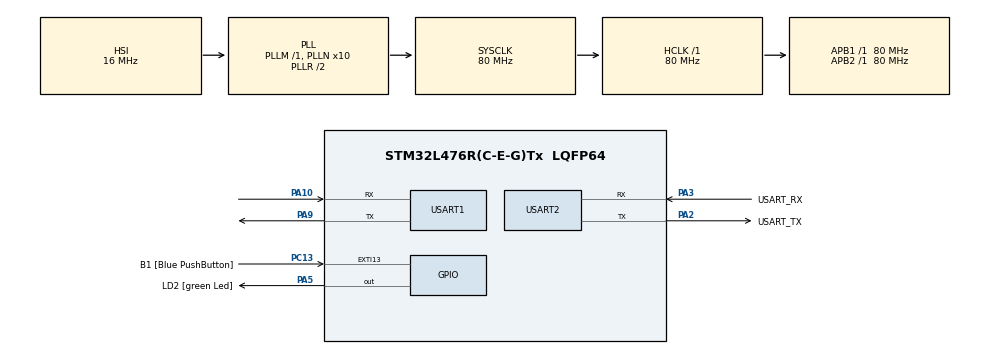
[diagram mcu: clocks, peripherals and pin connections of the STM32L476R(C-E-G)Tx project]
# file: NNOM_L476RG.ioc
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Mcu.Family=STM32L4
Mcu.Name=STM32L476R(C-E-G)Tx
Mcu.Package=LQFP64
NVIC.PriorityGroup=NVIC_PRIORITYGROUP_4
PA10.Mode=Asynchronous
PA10.Signal=USART1_RX
PA13\ (JTMS-SWDIO).GPIO_Label=TMS
PA13\ (JTMS-SWDIO).Mode=Serial_Wire
PA13\ (JTMS-SWDIO).Signal=SYS_JTMS-SWDIO
PA14\ (JTCK-SWCLK).GPIO_Label=TCK
PA14\ (JTCK-SWCLK).Mode=Serial_Wire
PA14\ (JTCK-SWCLK).Signal=SYS_JTCK-SWCLK
PA2.GPIO_Label=USART_TX
PA2.GPIO_Mode=GPIO_MODE_AF_PP
PA2.GPIO_PuPd=GPIO_NOPULL
PA2.GPIO_Speed=GPIO_SPEED_FREQ_VERY_HIGH
PA2.Mode=Asynchronous
PA2.Signal=USART2_TX
PA3.GPIO_Label=USART_RX
PA3.GPIO_Mode=GPIO_MODE_AF_PP
PA3.GPIO_PuPd=GPIO_NOPULL
PA3.GPIO_Speed=GPIO_SPEED_FREQ_VERY_HIGH
PA3.Mode=Asynchronous
PA3.Signal=USART2_RX
PA5.GPIO_Label=LD2 [green Led]
PA5.GPIO_ModeDefaultOutputPP=GPIO_MODE_OUTPUT_PP
PA5.GPIO_PuPd=GPIO_NOPULL
PA5.GPIO_Speed=GPIO_SPEED_FREQ_LOW
PA5.Signal=GPIO_Output
PA9.Mode=Asynchronous
PA9.Signal=USART1_TX
PB3\ (JTDO-TRACESWO).GPIO_Label=SWO
PB3\ (JTDO-TRACESWO).Signal=SYS_JTDO-SWO
PC13.GPIO_Label=B1 [Blue PushButton]
PC13.GPIO_ModeDefaultEXTI=GPIO_MODE_IT_FALLING
PC13.GPIO_PuPd=GPIO_NOPULL
PC13.Signal=GPXTI13
PC14-OSC32_IN\ (PC14).Mode=LSE-External-Oscillator
PC14-OSC32_IN\ (PC14).Signal=RCC_OSC32_IN
PC15-OSC32_OUT\ (PC15).Mode=LSE-External-Oscillator
PC15-OSC32_OUT\ (PC15).Signal=RCC_OSC32_OUT
PH0-OSC_IN\ (PH0).Signal=RCC_OSC_IN
PH1-OSC_OUT\ (PH1).Signal=RCC_OSC_OUT
ProjectManager.HeapSize=0x200
ProjectManager.StackSize=0x400
ProjectManager.TargetToolchain=STM32CubeIDE
RCC.ADCFreq_Value=64000000
RCC.AHBFreq_Value=80000000
RCC.APB1Freq_Value=80000000
RCC.APB1TimFreq_Value=80000000
RCC.APB2Freq_Value=80000000
RCC.APB2TimFreq_Value=80000000
RCC.CortexFreq_Value=80000000
RCC.HCLKFreq_Value=80000000
RCC.HSE_VALUE=8000000
RCC.HSI_VALUE=16000000
RCC.MSI_VALUE=4000000
RCC.PLLN=10
RCC.PLLSourceVirtual=RCC_PLLSOURCE_HSI
RCC.PREFETCH_ENABLE=1
RCC.SYSCLKFreq_VALUE=80000000
RCC.SYSCLKSource=RCC_SYSCLKSOURCE_PLLCLK
RCC.USBFreq_Value=64000000
RCC.VCOOutputFreq_Value=160000000
TIM16.Period=65536-1
TIM16.Prescaler=80-1
USART1.VirtualMode-Asynchronous=VM_ASYNC
USART2.VirtualMode-Asynchronous=VM_ASYNC
VP_TIM16_VS_ClockSourceINT.Mode=Enable_Timer
board=NUCLEO-L476RG

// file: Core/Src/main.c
/* USER CODE BEGIN Header */
/**
  ******************************************************************************
  * @file           : main.c
  * @brief          : Main program body
  ******************************************************************************
  * @attention
  *
  * Copyright (c) 2023 STMicroelectronics.
  * All rights reserved.
  *
  * This software is licensed under terms that can be found in the LICENSE file
  * in the root directory of this software component.
  * If no LICENSE file comes with this software, it is provided AS-IS.
  *
  ******************************************************************************
  */
/* USER CODE END Header */
#include "main.h"

/* USER CODE BEGIN Includes */
#include <stdint.h>
#include <stdlib.h>
#include <stdio.h>
#include <assert.h>

#include <nnom.h>
#include "DenseNet_v2.h"
/* USER CODE END Includes */

TIM_HandleTypeDef htim16;

UART_HandleTypeDef huart1;
UART_HandleTypeDef huart2;

void SystemClock_Config(void);
static void MX_GPIO_Init(void);
static void MX_USART2_UART_Init(void);
static void MX_TIM16_Init(void);
static void MX_USART1_UART_Init(void);

/* USER CODE BEGIN 0 */
int8_t* load(const char* file, size_t * size)
{
	size_t sz;
	FILE* fp = fopen(file,"rb");
	int8_t* input;
	assert(fp);
	fseek(fp, 0, SEEK_END);
	sz = ftell(fp);
	fseek(fp, 0, SEEK_SET);
	input = malloc(sz);
	fread(input, 1, sz, fp);
	fclose(fp);
	*size = sz;
	return input;
}

nnom_status_t callback(nnom_model_t* m, nnom_layer_t* layer)
{
	float scale = 1 << (layer->out->tensor->q_dec[0]);
	printf("\nOutput of Layer %s", default_layer_names[layer->type]);
	for (int i = 0; i < tensor_size(layer->out->tensor); i++)
	{
		if (i % 16 == 0)
			printf("\n");
		//printf("%f ", (float)((int8_t*)layer->out->tensor->p_data)[i] / scale);
	}
	printf("\n");
	return NN_SUCCESS;
}
/* USER CODE END 0 */

int main(void)
{
  /* USER CODE BEGIN 1 */
	char uart_buf[50];
	int uart_buf_len=0;
	uint16_t timer_val,timer_val1=0;

	unsigned char input_data_third[7968] =
			{
					7,	2,	1,	0,	4,	1,	4,	9,	5,	9,	0,	6,	9,	0,	1,	5,	0,	0,	0,	0,	0,	0,	0,	0,	0,	0,	0,	0,
					0,	0,	0,	0,	0,	0,	0,	0,	0,	0,	0,	0,	0,	0,	0,	0,	0,	0,	0,	0,	0,	0,	0,	0,	0,	0,	0,	0,
					0,	0,	0,	0,	0,	0,	0,	0,	0,	0,	0,	0,	0,	0,	0,	0,	0,	0,	0,	0,	0,	0,	0,	0,	0,	0,	0,	0,
					0,	0,	0,	0,	0,	0,	0,	0,	0,	0,	0,	0,	0,	0,	0,	0,	0,	0,	0,	0,	0,	0,	0,	0,	0,	0,	0,	0,
					0,	0,	0,	0,	0,	0,	0,	0,	0,	0,	0,	0,	0,	0,	0,	0,

					0,	0,	0,	0,	0,	0,	0,	0,	0,	0,	0,	0,	0,	0,	0,	0,	0,	0,	0,	0,	0,	0,	0,	0,	0,	0,	0,	0,
					0,	0,	0,	0,	0,	0,	0,	0,	0,	0,	0,	0,	0,	0,	0,	0,	0,	0,	0,	0,	0,	0,	0,	0,	0,	0,	0,	0,
					0,	0,	0,	0,	0,	0,	0,	0,	0,	0,	0,	0,	0,	0,	0,	0,	0,	0,	0,	0,	0,	0,	0,	0,	0,	0,	0,	0,
					0,	0,	0,	0,	0,	0,	0,	0,	0,	0,	0,	0,	0,	0,	0,	0,	0,	0,	0,	0,	0,	0,	0,	0,	0,	0,	0,	0,
					0,	0,	0,	0,	0,	0,	0,	0,	0,	0,	0,	0,	0,	0,	0,	0,	0,	0,	0,	0,	0,	0,	0,	0,	0,	0,	0,	0,
					0,	0,	0,	0,	0,	0,	0,	0,	0,	0,	0,	0,	0,	0,	0,	0,	0,	0,	0,	0,	0,	0,	0,	0,	0,	0,	0,	0,
					0,	0,	0,	0,	0,	0,	0,	0,	0,	0,	0,	0,	0,	0,	0,	0,	0,	0,	0,	0,	0,	0,	0,	0,	0,	0,	0,	0,
					0,	0,	0,	0,	0,	0,	42,	92,	79,	75,	30,	18,	0,	0,	0,	0,	0,	0,	0,	0,	0,	0,	0,	0,	0,	0,	0,	0,
					0,	0,	0,	0,	0,	0,	111,	127,	127,	127,	127,	120,	99,	99,	99,	99,	99,	99,	99,	99,	85,	26,	0,	0,	0,	0,	0,	0,
					0,	0,	0,	0,	0,	0,	33,	57,	36,	57,	81,	113,	127,	112,	127,	127,	127,	125,	114,	127,	127,	70,	0,	0,	0,	0,	0,	0,
					0,	0,	0,	0,	0,	0,	0,	0,	0,	0,	0,	8,	33,	7,	33,	33,	33,	29,	10,	118,	127,	53,	0,	0,	0,	0,	0,	0,
					0,	0,	0,	0,	0,	0,	0,	0,	0,	0,	0,	0,	0,	0,	0,	0,	0,	0,	41,	126,	104,	9,	0,	0,	0,	0,	0,	0,
					0,	0,	0,	0,	0,	0,	0,	0,	0,	0,	0,	0,	0,	0,	0,	0,	0,	11,	116,	127,	41,	0,	0,	0,	0,	0,	0,	0,
					0,	0,	0,	0,	0,	0,	0,	0,	0,	0,	0,	0,	0,	0,	0,	0,	0,	64,	127,	119,	22,	0,	0,	0,	0,	0,	0,	0,
					0,	0,	0,	0,	0,	0,	0,	0,	0,	0,	0,	0,	0,	0,	0,	0,	29,	124,	127,	31,	0,	0,	0,	0,	0,	0,	0,	0,
					0,	0,	0,	0,	0,	0,	0,	0,	0,	0,	0,	0,	0,	0,	0,	0,	66,	127,	93,	2,	0,	0,	0,	0,	0,	0,	0,	0,
					0,	0,	0,	0,	0,	0,	0,	0,	0,	0,	0,	0,	0,	0,	0,	4,	102,	124,	29,	0,	0,	0,	0,	0,	0,	0,	0,	0,
					0,	0,	0,	0,	0,	0,	0,	0,	0,	0,	0,	0,	0,	0,	0,	63,	127,	91,	0,	0,	0,	0,	0,	0,	0,	0,	0,	0,
					0,	0,	0,	0,	0,	0,	0,	0,	0,	0,	0,	0,	0,	0,	37,	125,	120,	28,	0,	0,	0,	0,	0,	0,	0,	0,	0,	0,
					0,	0,	0,	0,	0,	0,	0,	0,	0,	0,	0,	0,	0,	9,	110,	127,	83,	0,	0,	0,	0,	0,	0,	0,	0,	0,	0,	0,
					0,	0,	0,	0,	0,	0,	0,	0,	0,	0,	0,	0,	1,	101,	127,	109,	17,	0,	0,	0,	0,	0,	0,	0,	0,	0,	0,	0,
					0,	0,	0,	0,	0,	0,	0,	0,	0,	0,	0,	0,	19,	127,	127,	38,	0,	0,	0,	0,	0,	0,	0,	0,	0,	0,	0,	0,
					0,	0,	0,	0,	0,	0,	0,	0,	0,	0,	0,	15,	112,	127,	57,	0,	0,	0,	0,	0,	0,	0,	0,	0,	0,	0,	0,	0,
					0,	0,	0,	0,	0,	0,	0,	0,	0,	0,	0,	66,	127,	127,	26,	0,	0,	0,	0,	0,	0,	0,	0,	0,	0,	0,	0,	0,
					0,	0,	0,	0,	0,	0,	0,	0,	0,	0,	30,	121,	127,	127,	26,	0,	0,	0,	0,	0,	0,	0,	0,	0,	0,	0,	0,	0,
					0,	0,	0,	0,	0,	0,	0,	0,	0,	0,	60,	127,	127,	109,	20,	0,	0,	0,	0,	0,	0,	0,	0,	0,	0,	0,	0,	0,
					0,	0,	0,	0,	0,	0,	0,	0,	0,	0,	60,	127,	103,	9,	0,	0,	0,	0,	0,	0,	0,	0,	0,	0,	0,	0,	0,	0,
					0,	0,	0,	0,	0,	0,	0,	0,	0,	0,	0,	0,	0,	0,	0,	0,	0,	0,	0,	0,	0,	0,	0,	0,	0,	0,	0,	0,

					0,	0,	0,	0,	0,	0,	0,	0,	0,	0,	0,	0,	0,	0,	0,	0,	0,	0,	0,	0,	0,	0,	0,	0,	0,	0,	0,	0,
					0,	0,	0,	0,	0,	0,	0,	0,	0,	0,	0,	0,	0,	0,	0,	0,	0,	0,	0,	0,	0,	0,	0,	0,	0,	0,	0,	0,
					0,	0,	0,	0,	0,	0,	0,	0,	0,	0,	0,	0,	0,	0,	0,	0,	0,	0,	0,	0,	0,	0,	0,	0,	0,	0,	0,	0,
					0,	0,	0,	0,	0,	0,	0,	0,	0,	0,	58,	62,	85,	127,	127,	75,	46,	0,	0,	0,	0,	0,	0,	0,	0,	0,	0,	0,
					0,	0,	0,	0,	0,	0,	0,	0,	0,	84,	126,	126,	126,	126,	126,	126,	109,	15,	0,	0,	0,	0,	0,	0,	0,	0,	0,	0,
					0,	0,	0,	0,	0,	0,	0,	0,	84,	126,	126,	126,	106,	71,	88,	126,	126,	61,	0,	0,	0,	0,	0,	0,	0,	0,	0,	0,
					0,	0,	0,	0,	0,	0,	0,	26,	125,	126,	105,	16,	6,	0,	3,	103,	126,	70,	0,	0,	0,	0,	0,	0,	0,	0,	0,	0,
					0,	0,	0,	0,	0,	0,	0,	38,	125,	105,	12,	0,	0,	0,	61,	124,	126,	32,	0,	0,	0,	0,	0,	0,	0,	0,	0,	0,
					0,	0,	0,	0,	0,	0,	0,	0,	15,	9,	0,	0,	0,	0,	104,	126,	126,	32,	0,	0,	0,	0,	0,	0,	0,	0,	0,	0,
					0,	0,	0,	0,	0,	0,	0,	0,	0,	0,	0,	0,	0,	58,	123,	126,	99,	5,	0,	0,	0,	0,	0,	0,	0,	0,	0,	0,
					0,	0,	0,	0,	0,	0,	0,	0,	0,	0,	0,	0,	38,	123,	126,	115,	31,	0,	0,	0,	0,	0,	0,	0,	0,	0,	0,	0,
					0,	0,	0,	0,	0,	0,	0,	0,	0,	0,	0,	0,	64,	126,	126,	72,	0,	0,	0,	0,	0,	0,	0,	0,	0,	0,	0,	0,
					0,	0,	0,	0,	0,	0,	0,	0,	0,	0,	0,	88,	123,	126,	79,	6,	0,	0,	0,	0,	0,	0,	0,	0,	0,	0,	0,	0,
					0,	0,	0,	0,	0,	0,	0,	0,	0,	0,	12,	117,	126,	116,	17,	0,	0,	0,	0,	0,	0,	0,	0,	0,	0,	0,	0,	0,
					0,	0,	0,	0,	0,	0,	0,	0,	0,	0,	99,	126,	126,	70,	0,	0,	0,	0,	0,	0,	0,	0,	0,	0,	0,	0,	0,	0,
					0,	0,	0,	0,	0,	0,	0,	0,	0,	39,	124,	126,	94,	6,	0,	0,	0,	0,	0,	0,	0,	0,	0,	0,	0,	0,	0,	0,
					0,	0,	0,	0,	0,	0,	0,	0,	9,	100,	126,	126,	70,	0,	0,	0,	0,	0,	0,	0,	0,	0,	0,	0,	0,	0,	0,	0,
					0,	0,	0,	0,	0,	0,	0,	0,	67,	126,	126,	86,	6,	0,	0,	0,	0,	0,	0,	0,	0,	0,	0,	0,	0,	0,	0,	0,
					0,	0,	0,	0,	0,	0,	0,	0,	124,	126,	126,	12,	0,	0,	0,	0,	0,	0,	0,	0,	0,	0,	0,	0,	0,	0,	0,	0,
					0,	0,	0,	0,	0,	0,	0,	0,	124,	126,	126,	21,	10,	10,	10,	10,	2,	0,	2,	10,	10,	18,	75,	75,	75,	73,	5,	0,
					0,	0,	0,	0,	0,	0,	0,	0,	124,	126,	126,	126,	126,	126,	126,	126,	84,	71,	83,	126,	126,	126,	126,	126,	126,	126,	61,	0,
					0,	0,	0,	0,	0,	0,	0,	0,	87,	126,	126,	126,	126,	126,	126,	126,	126,	126,	126,	126,	124,	123,	123,	84,	58,	58,	28,	0,
					0,	0,	0,	0,	0,	0,	0,	0,	0,	59,	61,	61,	61,	83,	126,	126,	126,	77,	61,	61,	20,	0,	0,	0,	0,	0,	0,	0,
					0,	0,	0,	0,	0,	0,	0,	0,	0,	0,	0,	0,	0,	0,	0,	0,	0,	0,	0,	0,	0,	0,	0,	0,	0,	0,	0,	0,
					0,	0,	0,	0,	0,	0,	0,	0,	0,	0,	0,	0,	0,	0,	0,	0,	0,	0,	0,	0,	0,	0,	0,	0,	0,	0,	0,	0,
					0,	0,	0,	0,	0,	0,	0,	0,	0,	0,	0,	0,	0,	0,	0,	0,	0,	0,	0,	0,	0,	0,	0,	0,	0,	0,	0,	0,
					0,	0,	0,	0,	0,	0,	0,	0,	0,	0,	0,	0,	0,	0,	0,	0,	0,	0,	0,	0,	0,	0,	0,	0,	0,	0,	0,	0,
					0,	0,	0,	0,	0,	0,	0,	0,	0,	0,	0,	0,	0,	0,	0,	0,	0,	0,	0,	0,	0,	0,	0,	0,	0,	0,	0,	0,

					0,	0,	0,	0,	0,	0,	0,	0,	0,	0,	0,	0,	0,	0,	0,	0,	0,	0,	0,	0,	0,	0,	0,	0,	0,	0,	0,	0,
					0,	0,	0,	0,	0,	0,	0,	0,	0,	0,	0,	0,	0,	0,	0,	0,	0,	0,	0,	0,	0,	0,	0,	0,	0,	0,	0,	0,
					0,	0,	0,	0,	0,	0,	0,	0,	0,	0,	0,	0,	0,	0,	0,	0,	0,	0,	0,	0,	0,	0,	0,	0,	0,	0,	0,	0,
					0,	0,	0,	0,	0,	0,	0,	0,	0,	0,	0,	0,	0,	0,	0,	0,	0,	0,	0,	0,	0,	0,	0,	0,	0,	0,	0,	0,
					0,	0,	0,	0,	0,	0,	0,	0,	0,	0,	0,	0,	0,	0,	0,	0,	19,	127,	54,	0,	0,	0,	0,	0,	0,	0,	0,	0,
					0,	0,	0,	0,	0,	0,	0,	0,	0,	0,	0,	0,	0,	0,	0,	0,	43,	126,	41,	0,	0,	0,	0,	0,	0,	0,	0,	0,
					0,	0,	0,	0,	0,	0,	0,	0,	0,	0,	0,	0,	0,	0,	0,	0,	67,	120,	0,	0,	0,	0,	0,	0,	0,	0,	0,	0,
					0,	0,	0,	0,	0,	0,	0,	0,	0,	0,	0,	0,	0,	0,	0,	22,	122,	75,	0,	0,	0,	0,	0,	0,	0,	0,	0,	0,
					0,	0,	0,	0,	0,	0,	0,	0,	0,	0,	0,	0,	0,	0,	0,	42,	127,	31,	0,	0,	0,	0,	0,	0,	0,	0,	0,	0,
					0,	0,	0,	0,	0,	0,	0,	0,	0,	0,	0,	0,	0,	0,	0,	101,	111,	5,	0,	0,	0,	0,	0,	0,	0,	0,	0,	0,
					0,	0,	0,	0,	0,	0,	0,	0,	0,	0,	0,	0,	0,	0,	16,	127,	108,	0,	0,	0,	0,	0,	0,	0,	0,	0,	0,	0,
					0,	0,	0,	0,	0,	0,	0,	0,	0,	0,	0,	0,	0,	0,	47,	127,	97,	0,	0,	0,	0,	0,	0,	0,	0,	0,	0,	0,
					0,	0,	0,	0,	0,	0,	0,	0,	0,	0,	0,	0,	0,	0,	70,	127,	38,	0,	0,	0,	0,	0,	0,	0,	0,	0,	0,	0,
					0,	0,	0,	0,	0,	0,	0,	0,	0,	0,	0,	0,	0,	28,	118,	102,	4,	0,	0,	0,	0,	0,	0,	0,	0,	0,	0,	0,
					0,	0,	0,	0,	0,	0,	0,	0,	0,	0,	0,	0,	0,	62,	127,	82,	0,	0,	0,	0,	0,	0,	0,	0,	0,	0,	0,	0,
					0,	0,	0,	0,	0,	0,	0,	0,	0,	0,	0,	0,	0,	85,	127,	40,	0,	0,	0,	0,	0,	0,	0,	0,	0,	0,	0,	0,
					0,	0,	0,	0,	0,	0,	0,	0,	0,	0,	0,	0,	12,	116,	107,	0,	0,	0,	0,	0,	0,	0,	0,	0,	0,	0,	0,	0,
					0,	0,	0,	0,	0,	0,	0,	0,	0,	0,	0,	0,	60,	127,	79,	0,	0,	0,	0,	0,	0,	0,	0,	0,	0,	0,	0,	0,
					0,	0,	0,	0,	0,	0,	0,	0,	0,	0,	0,	0,	75,	127,	71,	0,	0,	0,	0,	0,	0,	0,	0,	0,	0,	0,	0,	0,
					0,	0,	0,	0,	0,	0,	0,	0,	0,	0,	0,	0,	114,	127,	33,	0,	0,	0,	0,	0,	0,	0,	0,	0,	0,	0,	0,	0,
					0,	0,	0,	0,	0,	0,	0,	0,	0,	0,	0,	30,	125,	127,	33,	0,	0,	0,	0,	0,	0,	0,	0,	0,	0,	0,	0,	0,
					0,	0,	0,	0,	0,	0,	0,	0,	0,	0,	0,	70,	127,	102,	1,	0,	0,	0,	0,	0,	0,	0,	0,	0,	0,	0,	0,	0,
					0,	0,	0,	0,	0,	0,	0,	0,	0,	0,	5,	107,	127,	60,	0,	0,	0,	0,	0,	0,	0,	0,	0,	0,	0,	0,	0,	0,
					0,	0,	0,	0,	0,	0,	0,	0,	0,	0,	2,	99,	88,	5,	0,	0,	0,	0,	0,	0,	0,	0,	0,	0,	0,	0,	0,	0,
					0,	0,	0,	0,	0,	0,	0,	0,	0,	0,	0,	0,	0,	0,	0,	0,	0,	0,	0,	0,	0,	0,	0,	0,	0,	0,	0,	0,
					0,	0,	0,	0,	0,	0,	0,	0,	0,	0,	0,	0,	0,	0,	0,	0,	0,	0,	0,	0,	0,	0,	0,	0,	0,	0,	0,	0,
					0,	0,	0,	0,	0,	0,	0,	0,	0,	0,	0,	0,	0,	0,	0,	0,	0,	0,	0,	0,	0,	0,	0,	0,	0,	0,	0,	0,
					0,	0,	0,	0,	0,	0,	0,	0,	0,	0,	0,	0,	0,	0,	0,	0,	0,	0,	0,	0,	0,	0,	0,	0,	0,	0,	0,	0,

					0,	0,	0,	0,	0,	0,	0,	0,	0,	0,	0,	0,	0,	0,	0,	0,	0,	0,	0,	0,	0,	0,	0,	0,	0,	0,	0,	0,
					0,	0,	0,	0,	0,	0,	0,	0,	0,	0,	0,	0,	0,	0,	0,	0,	0,	0,	0,	0,	0,	0,	0,	0,	0,	0,	0,	0,
					0,	0,	0,	0,	0,	0,	0,	0,	0,	0,	0,	0,	0,	0,	0,	0,	0,	0,	0,	0,	0,	0,	0,	0,	0,	0,	0,	0,
					0,	0,	0,	0,	0,	0,	0,	0,	0,	0,	0,	0,	0,	0,	0,	0,	0,	0,	0,	0,	0,	0,	0,	0,	0,	0,	0,	0,
					0,	0,	0,	0,	0,	0,	0,	0,	0,	0,	0,	0,	5,	75,	126,	101,	15,	0,	0,	0,	0,	0,	0,	0,	0,	0,	0,	0,
					0,	0,	0,	0,	0,	0,	0,	0,	0,	0,	0,	0,	18,	125,	125,	126,	53,	0,	0,	0,	0,	0,	0,	0,	0,	0,	0,	0,
					0,	0,	0,	0,	0,	0,	0,	0,	0,	0,	0,	10,	98,	125,	125,	126,	53,	0,	0,	0,	0,	0,	0,	0,	0,	0,	0,	0,
					0,	0,	0,	0,	0,	0,	0,	0,	0,	0,	55,	95,	125,	125,	125,	126,	84,	54,	31,	0,	0,	0,	0,	0,	0,	0,	0,	0,
					0,	0,	0,	0,	0,	0,	0,	0,	0,	0,	126,	125,	125,	125,	125,	126,	125,	125,	110,	25,	0,	0,	0,	0,	0,	0,	0,	0,
					0,	0,	0,	0,	0,	0,	0,	0,	0,	91,	127,	126,	126,	126,	126,	117,	111,	126,	126,	126,	0,	0,	0,	0,	0,	0,	0,	0,
					0,	0,	0,	0,	0,	0,	0,	0,	31,	110,	126,	125,	125,	125,	73,	38,	31,	64,	125,	125,	52,	0,	0,	0,	0,	0,	0,	0,
					0,	0,	0,	0,	0,	0,	0,	16,	115,	125,	126,	125,	110,	68,	5,	0,	0,	15,	115,	125,	121,	56,	2,	0,	0,	0,	0,	0,
					0,	0,	0,	0,	0,	0,	0,	18,	125,	125,	126,	94,	10,	0,	0,	0,	0,	0,	54,	125,	126,	125,	17,	0,	0,	0,	0,	0,
					0,	0,	0,	0,	0,	0,	0,	18,	125,	125,	100,	15,	0,	0,	0,	0,	0,	0,	15,	100,	126,	125,	17,	0,	0,	0,	0,	0,
					0,	0,	0,	0,	0,	0,	0,	18,	126,	126,	0,	0,	0,	0,	0,	0,	0,	0,	16,	101,	127,	126,	82,	0,	0,	0,	0,	0,
					0,	0,	0,	0,	0,	0,	0,	70,	125,	125,	0,	0,	0,	0,	0,	0,	0,	0,	54,	125,	126,	125,	17,	0,	0,	0,	0,	0,
					0,	0,	0,	0,	0,	0,	0,	108,	125,	125,	0,	0,	0,	0,	0,	0,	10,	31,	115,	125,	126,	115,	15,	0,	0,	0,	0,	0,
					0,	0,	0,	0,	0,	0,	0,	108,	125,	125,	0,	0,	0,	0,	0,	0,	72,	125,	125,	125,	110,	30,	0,	0,	0,	0,	0,	0,
					0,	0,	0,	0,	0,	0,	0,	108,	125,	125,	0,	0,	0,	0,	0,	91,	110,	125,	125,	125,	90,	0,	0,	0,	0,	0,	0,	0,
					0,	0,	0,	0,	0,	0,	0,	109,	126,	126,	36,	36,	114,	126,	126,	127,	126,	126,	126,	126,	0,	0,	0,	0,	0,	0,	0,	0,
					0,	0,	0,	0,	0,	0,	0,	56,	125,	125,	126,	125,	125,	125,	125,	126,	125,	125,	125,	73,	0,	0,	0,	0,	0,	0,	0,	0,
					0,	0,	0,	0,	0,	0,	0,	15,	115,	125,	126,	125,	125,	125,	125,	126,	115,	94,	17,	5,	0,	0,	0,	0,	0,	0,	0,	0,
					0,	0,	0,	0,	0,	0,	0,	0,	31,	71,	126,	125,	125,	125,	125,	126,	53,	0,	0,	0,	0,	0,	0,	0,	0,	0,	0,	0,
					0,	0,	0,	0,	0,	0,	0,	0,	0,	0,	36,	87,	125,	86,	35,	36,	15,	0,	0,	0,	0,	0,	0,	0,	0,	0,	0,	0,
					0,	0,	0,	0,	0,	0,	0,	0,	0,	0,	0,	0,	0,	0,	0,	0,	0,	0,	0,	0,	0,	0,	0,	0,	0,	0,	0,	0,
					0,	0,	0,	0,	0,	0,	0,	0,	0,	0,	0,	0,	0,	0,	0,	0,	0,	0,	0,	0,	0,	0,	0,	0,	0,	0,	0,	0,
					0,	0,	0,	0,	0,	0,	0,	0,	0,	0,	0,	0,	0,	0,	0,	0,	0,	0,	0,	0,	0,	0,	0,	0,	0,	0,	0,	0,
					0,	0,	0,	0,	0,	0,	0,	0,	0,	0,	0,	0,	0,	0,	0,	0,	0,	0,	0,	0,	0,	0,	0,	0,	0,	0,	0,	0,

					0,	0,	0,	0,	0,	0,	0,	0,	0,	0,	0,	0,	0,	0,	0,	0,	0,	0,	0,	0,	0,	0,	0,	0,	0,	0,	0,	0,
					0,	0,	0,	0,	0,	0,	0,	0,	0,	0,	0,	0,	0,	0,	0,	0,	0,	0,	0,	0,	0,	0,	0,	0,	0,	0,	0,	0,
					0,	0,	0,	0,	0,	0,	0,	0,	0,	0,	0,	0,	0,	0,	0,	0,	0,	0,	0,	0,	0,	0,	0,	0,	0,	0,	0,	0,
					0,	0,	0,	0,	0,	0,	0,	0,	0,	0,	0,	0,	0,	0,	0,	0,	0,	0,	0,	0,	0,	0,	0,	0,	0,	0,	0,	0,
					0,	0,	0,	0,	0,	0,	0,	0,	0,	0,	0,	0,	0,	0,	0,	0,	0,	0,	0,	0,	0,	0,	0,	0,	0,	0,	0,	0,
					0,	0,	0,	0,	0,	0,	0,	0,	0,	0,	25,	112,	0,	0,	0,	0,	0,	0,	0,	35,	14,	0,	0,	0,	0,	0,	0,	0,
					0,	0,	0,	0,	0,	0,	0,	0,	0,	0,	60,	115,	0,	0,	0,	0,	0,	0,	0,	74,	84,	0,	0,	0,	0,	0,	0,	0,
					0,	0,	0,	0,	0,	0,	0,	0,	0,	2,	97,	115,	0,	0,	0,	0,	0,	0,	0,	48,	105,	5,	0,	0,	0,	0,	0,	0,
					0,	0,	0,	0,	0,	0,	0,	0,	0,	34,	126,	67,	0,	0,	0,	0,	0,	0,	0,	57,	126,	10,	0,	0,	0,	0,	0,	0,
					0,	0,	0,	0,	0,	0,	0,	0,	22,	118,	108,	6,	0,	0,	0,	0,	0,	0,	0,	96,	126,	10,	0,	0,	0,	0,	0,	0,
					0,	0,	0,	0,	0,	0,	0,	0,	84,	123,	26,	0,	0,	0,	0,	0,	0,	0,	9,	127,	126,	10,	0,	0,	0,	0,	0,	0,
					0,	0,	0,	0,	0,	0,	0,	42,	121,	105,	0,	0,	0,	0,	0,	0,	0,	0,	70,	126,	94,	2,	0,	0,	0,	0,	0,	0,
					0,	0,	0,	0,	0,	0,	0,	84,	126,	53,	0,	0,	0,	0,	0,	0,	0,	16,	116,	125,	33,	0,	0,	0,	0,	0,	0,	0,
					0,	0,	0,	0,	0,	0,	7,	112,	126,	0,	0,	0,	0,	0,	0,	0,	0,	67,	126,	105,	0,	0,	0,	0,	0,	0,	0,	0,
					0,	0,	0,	0,	0,	0,	11,	126,	82,	0,	0,	0,	0,	0,	0,	0,	0,	84,	126,	83,	0,	0,	0,	0,	0,	0,	0,	0,
					0,	0,	0,	0,	0,	0,	4,	102,	104,	9,	0,	0,	0,	0,	0,	0,	11,	126,	126,	53,	0,	0,	0,	0,	0,	0,	0,	0,
					0,	0,	0,	0,	0,	0,	0,	84,	126,	99,	42,	42,	42,	42,	64,	82,	97,	126,	126,	53,	0,	0,	0,	0,	0,	0,	0,	0,
					0,	0,	0,	0,	0,	0,	0,	20,	85,	122,	126,	126,	126,	126,	116,	115,	125,	126,	126,	4,	0,	0,	0,	0,	0,	0,	0,	0,
					0,	0,	0,	0,	0,	0,	0,	0,	0,	24,	42,	42,	42,	42,	0,	0,	80,	126,	126,	0,	0,	0,	0,	0,	0,	0,	0,	0,
					0,	0,	0,	0,	0,	0,	0,	0,	0,	0,	0,	0,	0,	0,	0,	0,	63,	126,	126,	22,	0,	0,	0,	0,	0,	0,	0,	0,
					0,	0,	0,	0,	0,	0,	0,	0,	0,	0,	0,	0,	0,	0,	0,	0,	64,	126,	126,	0,	0,	0,	0,	0,	0,	0,	0,	0,
					0,	0,	0,	0,	0,	0,	0,	0,	0,	0,	0,	0,	0,	0,	0,	0,	63,	126,	126,	0,	0,	0,	0,	0,	0,	0,	0,	0,
					0,	0,	0,	0,	0,	0,	0,	0,	0,	0,	0,	0,	0,	0,	0,	0,	67,	126,	122,	0,	0,	0,	0,	0,	0,	0,	0,	0,
					0,	0,	0,	0,	0,	0,	0,	0,	0,	0,	0,	0,	0,	0,	0,	0,	116,	118,	55,	0,	0,	0,	0,	0,	0,	0,	0,	0,
					0,	0,	0,	0,	0,	0,	0,	0,	0,	0,	0,	0,	0,	0,	0,	0,	89,	33,	0,	0,	0,	0,	0,	0,	0,	0,	0,	0,
					0,	0,	0,	0,	0,	0,	0,	0,	0,	0,	0,	0,	0,	0,	0,	0,	0,	0,	0,	0,	0,	0,	0,	0,	0,	0,	0,	0,
					0,	0,	0,	0,	0,	0,	0,	0,	0,	0,	0,	0,	0,	0,	0,	0,	0,	0,	0,	0,	0,	0,	0,	0,	0,	0,	0,	0,
					0,	0,	0,	0,	0,	0,	0,	0,	0,	0,	0,	0,	0,	0,	0,	0,	0,	0,	0,	0,	0,	0,	0,	0,	0,	0,	0,	0,

					0,	0,	0,	0,	0,	0,	0,	0,	0,	0,	0,	0,	0,	0,	0,	0,	0,	0,	0,	0,	0,	0,	0,	0,	0,	0,	0,	0,
					0,	0,	0,	0,	0,	0,	0,	0,	0,	0,	0,	0,	0,	0,	0,	0,	0,	0,	0,	0,	0,	0,	0,	0,	0,	0,	0,	0,
					0,	0,	0,	0,	0,	0,	0,	0,	0,	0,	0,	0,	0,	0,	0,	0,	0,	0,	0,	0,	0,	0,	0,	0,	0,	0,	0,	0,
					0,	0,	0,	0,	0,	0,	0,	0,	0,	0,	0,	0,	0,	0,	0,	0,	0,	0,	0,	0,	0,	0,	0,	0,	0,	0,	0,	0,
					0,	0,	0,	0,	0,	0,	0,	0,	0,	0,	0,	0,	0,	0,	0,	0,	0,	0,	0,	0,	0,	0,	0,	0,	0,	0,	0,	0,
					0,	0,	0,	0,	0,	0,	0,	0,	0,	0,	0,	0,	0,	0,	0,	0,	38,	127,	53,	1,	0,	0,	0,	0,	0,	0,	0,	0,
					0,	0,	0,	0,	0,	0,	0,	0,	0,	0,	0,	0,	0,	0,	0,	9,	113,	127,	127,	4,	0,	0,	0,	0,	0,	0,	0,	0,
					0,	0,	0,	0,	0,	0,	0,	0,	0,	0,	0,	0,	0,	0,	0,	40,	127,	127,	82,	0,	0,	0,	0,	0,	0,	0,	0,	0,
					0,	0,	0,	0,	0,	0,	0,	0,	0,	0,	0,	0,	0,	0,	3,	101,	127,	127,	36,	0,	0,	0,	0,	0,	0,	0,	0,	0,
					0,	0,	0,	0,	0,	0,	0,	0,	0,	0,	0,	0,	0,	0,	26,	127,	127,	125,	0,	0,	0,	0,	0,	0,	0,	0,	0,	0,
					0,	0,	0,	0,	0,	0,	0,	0,	0,	0,	0,	0,	0,	0,	67,	127,	127,	90,	0,	0,	0,	0,	0,	0,	0,	0,	0,	0,
					0,	0,	0,	0,	0,	0,	0,	0,	0,	0,	0,	0,	0,	0,	98,	127,	124,	24,	0,	0,	0,	0,	0,	0,	0,	0,	0,	0,
					0,	0,	0,	0,	0,	0,	0,	0,	0,	0,	0,	0,	0,	29,	127,	127,	118,	0,	0,	0,	0,	0,	0,	0,	0,	0,	0,	0,
					0,	0,	0,	0,	0,	0,	0,	0,	0,	0,	0,	0,	0,	55,	127,	127,	66,	0,	0,	0,	0,	0,	0,	0,	0,	0,	0,	0,
					0,	0,	0,	0,	0,	0,	0,	0,	0,	0,	0,	0,	0,	81,	127,	119,	14,	0,	0,	0,	0,	0,	0,	0,	0,	0,	0,	0,
					0,	0,	0,	0,	0,	0,	0,	0,	0,	0,	0,	0,	30,	126,	127,	111,	0,	0,	0,	0,	0,	0,	0,	0,	0,	0,	0,	0,
					0,	0,	0,	0,	0,	0,	0,	0,	0,	0,	0,	0,	39,	127,	127,	77,	0,	0,	0,	0,	0,	0,	0,	0,	0,	0,	0,	0,
					0,	0,	0,	0,	0,	0,	0,	0,	0,	0,	0,	0,	81,	127,	119,	26,	0,	0,	0,	0,	0,	0,	0,	0,	0,	0,	0,	0,
					0,	0,	0,	0,	0,	0,	0,	0,	0,	0,	0,	14,	126,	127,	105,	0,	0,	0,	0,	0,	0,	0,	0,	0,	0,	0,	0,	0,
					0,	0,	0,	0,	0,	0,	0,	0,	0,	0,	0,	43,	127,	127,	65,	0,	0,	0,	0,	0,	0,	0,	0,	0,	0,	0,	0,	0,
					0,	0,	0,	0,	0,	0,	0,	0,	0,	0,	0,	52,	127,	117,	10,	0,	0,	0,	0,	0,	0,	0,	0,	0,	0,	0,	0,	0,
					0,	0,	0,	0,	0,	0,	0,	0,	0,	0,	0,	87,	127,	102,	2,	0,	0,	0,	0,	0,	0,	0,	0,	0,	0,	0,	0,	0,
					0,	0,	0,	0,	0,	0,	0,	0,	0,	0,	2,	105,	127,	98,	0,	0,	0,	0,	0,	0,	0,	0,	0,	0,	0,	0,	0,	0,
					0,	0,	0,	0,	0,	0,	0,	0,	0,	0,	1,	79,	127,	80,	0,	0,	0,	0,	0,	0,	0,	0,	0,	0,	0,	0,	0,	0,
					0,	0,	0,	0,	0,	0,	0,	0,	0,	0,	0,	13,	78,	53,	0,	0,	0,	0,	0,	0,	0,	0,	0,	0,	0,	0,	0,	0,
					0,	0,	0,	0,	0,	0,	0,	0,	0,	0,	0,	0,	0,	0,	0,	0,	0,	0,	0,	0,	0,	0,	0,	0,	0,	0,	0,	0,
					0,	0,	0,	0,	0,	0,	0,	0,	0,	0,	0,	0,	0,	0,	0,	0,	0,	0,	0,	0,	0,	0,	0,	0,	0,	0,	0,	0,
					0,	0,	0,	0,	0,	0,	0,	0,	0,	0,	0,	0,	0,	0,	0,	0,	0,	0,	0,	0,	0,	0,	0,	0,	0,	0,	0,	0,

					0,	0,	0,	0,	0,	0,	0,	0,	0,	0,	0,	0,	0,	0,	0,	0,	0,	0,	0,	0,	0,	0,	0,	0,	0,	0,	0,	0,
					0,	0,	0,	0,	0,	0,	0,	0,	0,	0,	0,	0,	0,	0,	0,	0,	0,	0,	0,	0,	0,	0,	0,	0,	0,	0,	0,	0,
					0,	0,	0,	0,	0,	0,	0,	0,	0,	0,	0,	0,	0,	0,	0,	0,	0,	0,	0,	0,	0,	0,	0,	0,	0,	0,	0,	0,
					0,	0,	0,	0,	0,	0,	0,	0,	0,	0,	0,	0,	0,	0,	0,	0,	0,	0,	0,	0,	0,	0,	0,	0,	0,	0,	0,	0,
					0,	0,	0,	0,	0,	0,	0,	0,	0,	0,	0,	0,	0,	0,	0,	0,	0,	0,	0,	0,	0,	0,	0,	0,	0,	0,	0,	0,
					0,	0,	0,	0,	0,	0,	0,	0,	0,	11,	96,	67,	16,	0,	0,	0,	0,	0,	0,	0,	0,	7,	38,	2,	0,	0,	0,	0,
					0,	0,	0,	0,	0,	0,	0,	0,	8,	117,	125,	84,	0,	0,	0,	0,	0,	0,	0,	0,	7,	110,	120,	18,	0,	0,	0,	0,
					0,	0,	0,	0,	0,	0,	0,	10,	94,	126,	73,	0,	0,	0,	0,	0,	0,	0,	0,	0,	69,	126,	50,	0,	0,	0,	0,	0,
					0,	0,	0,	0,	0,	0,	0,	35,	126,	126,	10,	0,	0,	0,	0,	0,	0,	0,	0,	21,	127,	86,	6,	0,	0,	0,	0,	0,
					0,	0,	0,	0,	0,	0,	11,	76,	126,	48,	0,	0,	0,	0,	0,	0,	0,	0,	21,	115,	127,	46,	0,	0,	0,	0,	0,	0,
					0,	0,	0,	0,	0,	0,	81,	127,	102,	5,	0,	0,	0,	0,	0,	0,	0,	0,	52,	127,	79,	0,	0,	0,	0,	0,	0,	0,
					0,	0,	0,	0,	0,	0,	81,	126,	89,	2,	0,	0,	0,	0,	0,	0,	4,	65,	118,	126,	0,	0,	0,	0,	0,	0,	0,	0,
					0,	0,	0,	0,	0,	0,	81,	126,	126,	95,	87,	35,	35,	35,	35,	66,	98,	126,	126,	84,	0,	0,	0,	0,	0,	0,	0,	0,
					0,	0,	0,	0,	0,	0,	25,	114,	126,	126,	127,	126,	126,	126,	126,	127,	126,	126,	109,	17,	0,	0,	0,	0,	0,	0,	0,	0,
					0,	0,	0,	0,	0,	0,	0,	8,	32,	68,	127,	116,	68,	68,	68,	22,	126,	126,	80,	0,	0,	0,	0,	0,	0,	0,	0,	0,
					0,	0,	0,	0,	0,	0,	0,	0,	0,	0,	0,	0,	0,	0,	0,	17,	127,	103,	10,	0,	0,	0,	0,	0,	0,	0,	0,	0,
					0,	0,	0,	0,	0,	0,	0,	0,	0,	0,	0,	0,	0,	0,	0,	80,	126,	34,	0,	0,	0,	0,	0,	0,	0,	0,	0,	0,
					0,	0,	0,	0,	0,	0,	0,	0,	0,	0,	0,	0,	0,	0,	42,	127,	120,	25,	0,	0,	0,	0,	0,	0,	0,	0,	0,	0,
					0,	0,	0,	0,	0,	0,	0,	0,	0,	0,	0,	0,	0,	0,	79,	127,	82,	0,	0,	0,	0,	0,	0,	0,	0,	0,	0,	0,
					0,	0,	0,	0,	0,	0,	0,	0,	0,	0,	0,	0,	0,	0,	115,	122,	25,	0,	0,	0,	0,	0,	0,	0,	0,	0,	0,	0,
					0,	0,	0,	0,	0,	0,	0,	0,	0,	0,	0,	0,	0,	52,	127,	116,	0,	0,	0,	0,	0,	0,	0,	0,	0,	0,	0,	0,
					0,	0,	0,	0,	0,	0,	0,	0,	0,	0,	0,	0,	0,	104,	126,	78,	0,	6,	15,	0,	0,	0,	0,	0,	0,	0,	0,	0,
					0,	0,	0,	0,	0,	0,	0,	0,	0,	0,	0,	0,	0,	104,	126,	77,	45,	102,	80,	0,	0,	0,	0,	0,	0,	0,	0,	0,
					0,	0,	0,	0,	0,	0,	0,	0,	0,	0,	0,	0,	0,	104,	126,	127,	126,	77,	14,	0,	0,	0,	0,	0,	0,	0,	0,	0,
					0,	0,	0,	0,	0,	0,	0,	0,	0,	0,	0,	0,	0,	30,	95,	64,	11,	3,	0,	0,	0,	0,	0,	0,	0,	0,	0,	0,
					0,	0,	0,	0,	0,	0,	0,	0,	0,	0,	0,	0,	0,	0,	0,	0,	0,	0,	0,	0,	0,	0,	0,	0,	0,	0,	0,	0,
					0,	0,	0,	0,	0,	0,	0,	0,	0,	0,	0,	0,	0,	0,	0,	0,	0,	0,	0,	0,	0,	0,	0,	0,	0,	0,	0,	0,
					0,	0,	0,	0,	0,	0,	0,	0,	0,	0,	0,	0,	0,	0,	0,	0,	0,	0,	0,	0,	0,	0,	0,	0,	0,	0,	0,	0,

					0,	0,	0,	0,	0,	0,	0,	0,	0,	0,	0,	0,	0,	0,	0,	0,	0,	0,	0,	0,	0,	0,	0,	0,	0,	0,	0,	0,
					0,	0,	0,	0,	0,	0,	0,	0,	0,	0,	0,	0,	0,	0,	0,	0,	0,	0,	0,	0,	0,	0,	0,	0,	0,	0,	0,	0,
					0,	0,	0,	0,	0,	0,	0,	0,	0,	0,	0,	0,	0,	0,	0,	0,	0,	0,	0,	0,	0,	0,	0,	0,	0,	0,	0,	0,
					0,	0,	0,	0,	0,	0,	0,	0,	0,	0,	0,	0,	0,	0,	0,	0,	0,	0,	0,	0,	0,	0,	0,	0,	0,	0,	0,	0,
					0,	0,	0,	0,	0,	0,	0,	0,	0,	0,	0,	0,	0,	0,	0,	0,	0,	0,	0,	0,	0,	0,	0,	0,	0,	0,	0,	0,
					0,	0,	0,	0,	0,	0,	0,	0,	0,	0,	0,	0,	0,	0,	0,	0,	0,	0,	0,	0,	0,	0,	0,	0,	0,	0,	0,	0,
					0,	0,	0,	0,	0,	0,	0,	0,	0,	0,	0,	7,	74,	96,	2,	0,	0,	0,	0,	0,	0,	0,	0,	0,	0,	0,	0,	0,
					0,	0,	0,	0,	0,	0,	0,	0,	0,	0,	45,	112,	126,	126,	9,	0,	0,	0,	0,	0,	0,	0,	0,	0,	0,	0,	0,	0,
					0,	0,	0,	0,	0,	0,	0,	0,	0,	14,	117,	127,	126,	126,	83,	9,	0,	0,	0,	0,	0,	0,	0,	0,	0,	0,	0,	0,
					0,	0,	0,	0,	0,	0,	0,	0,	0,	72,	126,	127,	126,	126,	126,	119,	57,	3,	0,	0,	0,	0,	0,	0,	0,	0,	0,	0,
					0,	0,	0,	0,	0,	0,	0,	0,	15,	120,	126,	104,	92,	126,	126,	126,	115,	12,	0,	0,	0,	0,	0,	0,	0,	0,	0,	0,
					0,	0,	0,	0,	0,	0,	0,	0,	39,	127,	96,	0,	4,	49,	109,	127,	127,	100,	9,	0,	0,	0,	0,	0,	0,	0,	0,	0,
					0,	0,	0,	0,	0,	0,	0,	0,	43,	126,	40,	0,	0,	0,	91,	126,	127,	95,	6,	0,	0,	0,	0,	0,	0,	0,	0,	0,
					0,	0,	0,	0,	0,	0,	0,	0,	87,	126,	77,	0,	0,	0,	117,	126,	127,	67,	0,	0,	0,	0,	0,	0,	0,	0,	0,	0,
					0,	0,	0,	0,	0,	0,	0,	0,	43,	126,	104,	20,	42,	83,	125,	118,	127,	118,	21,	0,	0,	0,	0,	0,	0,	0,	0,	0,
					0,	0,	0,	0,	0,	0,	0,	0,	9,	119,	126,	127,	126,	126,	92,	18,	108,	126,	76,	0,	0,	0,	0,	0,	0,	0,	0,	0,
					0,	0,	0,	0,	0,	0,	0,	0,	0,	34,	120,	127,	127,	72,	4,	0,	67,	127,	111,	17,	0,	0,	0,	0,	0,	0,	0,	0,
					0,	0,	0,	0,	0,	0,	0,	0,	0,	0,	34,	79,	71,	6,	0,	0,	4,	87,	126,	80,	0,	0,	0,	0,	0,	0,	0,	0,
					0,	0,	0,	0,	0,	0,	0,	0,	0,	0,	0,	0,	0,	0,	0,	0,	0,	44,	126,	113,	9,	0,	0,	0,	0,	0,	0,	0,
					0,	0,	0,	0,	0,	0,	0,	0,	0,	0,	0,	0,	0,	0,	0,	0,	0,	1,	83,	126,	63,	0,	0,	0,	0,	0,	0,	0,
					0,	0,	0,	0,	0,	0,	0,	0,	0,	0,	0,	0,	0,	0,	0,	0,	0,	0,	24,	122,	126,	19,	0,	0,	0,	0,	0,	0,
					0,	0,	0,	0,	0,	0,	0,	0,	0,	0,	0,	0,	0,	0,	0,	0,	0,	0,	0,	57,	127,	86,	4,	0,	0,	0,	0,	0,
					0,	0,	0,	0,	0,	0,	0,	0,	0,	0,	0,	0,	0,	0,	0,	0,	0,	0,	0,	10,	109,	127,	23,	0,	0,	0,	0,	0,
					0,	0,	0,	0,	0,	0,	0,	0,	0,	0,	0,	0,	0,	0,	0,	0,	0,	0,	0,	0,	15,	127,	82,	0,	0,	0,	0,	0,
					0,	0,	0,	0,	0,	0,	0,	0,	0,	0,	0,	0,	0,	0,	0,	0,	0,	0,	0,	0,	0,	93,	122,	21,	0,	0,	0,	0,
					0,	0,	0,	0,	0,	0,	0,	0,	0,	0,	0,	0,	0,	0,	0,	0,	0,	0,	0,	0,	0,	7,	111,	39,	0,	0,	0,	0,
					0,	0,	0,	0,	0,	0,	0,	0,	0,	0,	0,	0,	0,	0,	0,	0,	0,	0,	0,	0,	0,	0,	0,	0,	0,	0,	0,	0,
					0,	0,	0,	0,	0,	0,	0,	0,	0,	0,	0,	0,	0,	0,	0,	0,	0,	0,	0,	0,	0,	0,	0,	0,	0,	0,	0,	0,

					0,	0,	0,	0,	0,	0,	0,	0,	0,	0,	0,	0,	0,	0,	0,	0,	0,	0,	0,	0,	0,	0,	0,	0,	0,	0,	0,	0,
					0,	0,	0,	0,	0,	0,	0,	0,	0,	0,	0,	0,	0,	0,	0,	0,	0,	0,	0,	0,	0,	0,	0,	0,	0,	0,	0,	0,
					0,	0,	0,	0,	0,	0,	0,	0,	0,	0,	0,	0,	0,	0,	0,	0,	0,	0,	0,	0,	0,	0,	0,	0,	0,	0,	0,	0,
					0,	0,	0,	0,	0,	0,	0,	0,	0,	0,	0,	0,	0,	0,	0,	0,	0,	0,	0,	0,	0,	0,	0,	0,	0,	0,	0,	0,
					0,	0,	0,	0,	0,	0,	0,	0,	0,	0,	0,	0,	0,	0,	0,	0,	0,	8,	23,	23,	23,	8,	64,	42,	23,	0,	0,	0,
					0,	0,	0,	0,	0,	0,	0,	0,	0,	0,	0,	0,	0,	0,	0,	37,	76,	108,	126,	126,	126,	107,	123,	126,	126,	0,	0,	0,
					0,	0,	0,	0,	0,	0,	0,	0,	0,	0,	0,	0,	17,	71,	122,	126,	126,	126,	126,	126,	126,	126,	126,	126,	126,	0,	0,	0,
					0,	0,	0,	0,	0,	0,	0,	0,	0,	0,	0,	0,	31,	126,	126,	126,	126,	126,	126,	126,	106,	85,	85,	85,	85,	0,	0,	0,
					0,	0,	0,	0,	0,	0,	0,	0,	10,	66,	36,	0,	28,	119,	113,	119,	84,	62,	34,	10,	5,	0,	0,	0,	0,	0,	0,	0,
					0,	0,	0,	0,	0,	0,	0,	5,	103,	126,	39,	0,	0,	16,	0,	15,	1,	0,	0,	0,	0,	0,	0,	0,	0,	0,	0,	0,
					0,	0,	0,	0,	0,	0,	3,	88,	126,	66,	5,	0,	0,	0,	0,	0,	0,	0,	0,	0,	0,	0,	0,	0,	0,	0,	0,	0,
					0,	0,	0,	0,	0,	6,	66,	126,	116,	7,	0,	0,	0,	0,	0,	0,	0,	0,	0,	0,	0,	0,	0,	0,	0,	0,	0,	0,
					0,	0,	0,	0,	0,	46,	126,	111,	14,	0,	0,	0,	0,	0,	0,	0,	0,	0,	0,	0,	0,	0,	0,	0,	0,	0,	0,	0,
					0,	0,	0,	0,	0,	75,	126,	87,	0,	0,	0,	0,	0,	0,	0,	0,	0,	0,	0,	0,	0,	0,	0,	0,	0,	0,	0,	0,
					0,	0,	0,	0,	0,	117,	126,	123,	63,	24,	0,	0,	0,	0,	0,	0,	0,	0,	0,	0,	0,	0,	0,	0,	0,	0,	0,	0,
					0,	0,	0,	0,	0,	127,	126,	126,	126,	125,	73,	45,	60,	42,	21,	21,	42,	14,	0,	0,	0,	0,	0,	0,	0,	0,	0,	0,
					0,	0,	0,	0,	0,	69,	126,	126,	126,	126,	126,	126,	126,	126,	126,	126,	126,	116,	84,	0,	0,	0,	0,	0,	0,	0,	0,	0,
					0,	0,	0,	0,	0,	1,	26,	109,	111,	125,	126,	126,	126,	126,	126,	126,	126,	126,	126,	62,	0,	0,	0,	0,	0,	0,	0,	0,
					0,	0,	0,	0,	0,	0,	0,	0,	0,	33,	36,	100,	126,	126,	126,	126,	126,	126,	126,	87,	0,	0,	0,	0,	0,	0,	0,	0,
					0,	0,	0,	0,	0,	0,	0,	0,	0,	0,	0,	60,	126,	124,	76,	25,	82,	126,	126,	87,	0,	0,	0,	0,	0,	0,	0,	0,
					0,	0,	0,	0,	0,	0,	0,	0,	0,	0,	0,	25,	126,	126,	126,	94,	126,	126,	126,	74,	0,	0,	0,	0,	0,	0,	0,	0,
					0,	0,	0,	0,	0,	0,	0,	0,	0,	0,	0,	4,	83,	126,	126,	126,	126,	125,	87,	5,	0,	0,	0,	0,	0,	0,	0,	0,
					0,	0,	0,	0,	0,	0,	0,	0,	0,	0,	0,	0,	11,	90,	115,	126,	110,	64,	0,	0,	0,	0,	0,	0,	0,	0,	0,	0,
					0,	0,	0,	0,	0,	0,	0,	0,	0,	0,	0,	0,	0,	0,	46,	74,	11,	0,	0,	0,	0,	0,	0,	0,	0,	0,	0,	0,
					0,	0,	0,	0,	0,	0,	0,	0,	0,	0,	0,	0,	0,	0,	0,	0,	0,	0,	0,	0,	0,	0,	0,	0,	0,	0,	0,	0,
					0,	0,	0,	0,	0,	0,	0,	0,	0,	0,	0,	0,	0,	0,	0,	0,	0,	0,	0,	0,	0,	0,	0,	0,	0,	0,	0,	0,
					0,	0,	0,	0,	0,	0,	0,	0,	0,	0,	0,	0,	0,	0,	0,	0,	0,	0,	0,	0,	0,	0,	0,	0,	0,	0,	0,	0,
					0,	0,	0,	0,	0,	0,	0,	0,	0,	0,	0,	0,	0,	0,	0,	0,	0,	0,	0,	0,	0,	0,	0,	0,	0,	0,	0,	0,

					0,	0,	0,	0,	0,	0,	0,	0,	0,	0,	0,	0,	0,	0,	0,	0,	0,	0,	0,	0,	0,	0,	0,	0,	0,	0,	0,	0,
					0,	0,	0,	0,	0,	0,	0,	0,	0,	0,	0,	0,	0,	0,	0,	0,	0,	0,	0,	0,	0,	0,	0,	0,	0,	0,	0,	0,
					0,	0,	0,	0,	0,	0,	0,	0,	0,	0,	0,	0,	0,	0,	0,	0,	0,	0,	0,	0,	0,	0,	0,	0,	0,	0,	0,	0,
					0,	0,	0,	0,	0,	0,	0,	0,	0,	0,	0,	0,	0,	0,	0,	0,	0,	0,	0,	0,	0,	0,	0,	0,	0,	0,	0,	0,
					0,	0,	0,	0,	0,	0,	0,	0,	0,	0,	0,	0,	0,	0,	0,	0,	0,	0,	0,	0,	0,	0,	0,	0,	0,	0,	0,	0,
					0,	0,	0,	0,	0,	0,	0,	0,	0,	0,	0,	0,	0,	0,	0,	0,	0,	0,	0,	0,	0,	0,	0,	0,	0,	0,	0,	0,
					0,	0,	0,	0,	0,	0,	0,	0,	0,	0,	0,	0,	0,	0,	0,	0,	0,	0,	0,	0,	0,	0,	0,	0,	0,	0,	0,	0,
					0,	0,	0,	0,	0,	0,	0,	0,	0,	0,	0,	0,	0,	18,	28,	68,	100,	99,	47,	18,	0,	0,	0,	0,	0,	0,	0,	0,
					0,	0,	0,	0,	0,	0,	0,	0,	0,	0,	0,	22,	76,	117,	127,	127,	127,	127,	127,	125,	105,	75,	3,	0,	0,	0,	0,	0,
					0,	0,	0,	0,	0,	0,	0,	0,	0,	23,	76,	120,	127,	127,	113,	83,	66,	125,	100,	127,	114,	112,	52,	0,	0,	0,	0,	0,
					0,	0,	0,	0,	0,	0,	0,	0,	76,	117,	127,	127,	93,	71,	4,	0,	0,	95,	20,	99,	123,	111,	126,	10,	0,	0,	0,	0,
					0,	0,	0,	0,	0,	0,	4,	63,	126,	127,	116,	64,	5,	0,	0,	0,	0,	105,	21,	35,	127,	127,	127,	10,	0,	0,	0,	0,
					0,	0,	0,	0,	0,	0,	36,	121,	127,	114,	27,	0,	0,	0,	0,	1,	16,	58,	112,	121,	127,	127,	81,	2,	0,	0,	0,	0,
					0,	0,	0,	0,	0,	0,	37,	120,	127,	111,	54,	69,	89,	89,	84,	105,	125,	115,	127,	127,	127,	116,	19,	0,	0,	0,	0,	0,
					0,	0,	0,	0,	0,	0,	4,	87,	12,	126,	127,	127,	127,	125,	127,	127,	127,	127,	127,	126,	85,	12,	0,	0,	0,	0,	0,	0,
					0,	0,	0,	0,	0,	0,	0,	0,	8,	68,	97,	88,	73,	76,	100,	127,	127,	127,	127,	75,	8,	0,	0,	0,	0,	0,	0,	0,
					0,	0,	0,	0,	0,	0,	0,	0,	0,	0,	0,	0,	0,	0,	81,	127,	127,	120,	49,	1,	0,	0,	0,	0,	0,	0,	0,	0,
					0,	0,	0,	0,	0,	0,	0,	0,	0,	0,	0,	0,	0,	59,	125,	127,	127,	45,	0,	0,	0,	0,	0,	0,	0,	0,	0,	0,
					0,	0,	0,	0,	0,	0,	0,	0,	0,	0,	0,	0,	50,	121,	127,	127,	105,	3,	0,	0,	0,	0,	0,	0,	0,	0,	0,	0,
					0,	0,	0,	0,	0,	0,	0,	0,	0,	0,	0,	27,	120,	127,	127,	121,	29,	0,	0,	0,	0,	0,	0,	0,	0,	0,	0,	0,
					0,	0,	0,	0,	0,	0,	0,	0,	0,	0,	0,	65,	127,	127,	122,	32,	0,	0,	0,	0,	0,	0,	0,	0,	0,	0,	0,	0,
					0,	0,	0,	0,	0,	0,	0,	0,	0,	0,	6,	124,	127,	127,	76,	0,	0,	0,	0,	0,	0,	0,	0,	0,	0,	0,	0,	0,
					0,	0,	0,	0,	0,	0,	0,	0,	0,	6,	114,	127,	127,	104,	4,	0,	0,	0,	0,	0,	0,	0,	0,	0,	0,	0,	0,	0,
					0,	0,	0,	0,	0,	0,	0,	0,	0,	39,	127,	127,	127,	33,	0,	0,	0,	0,	0,	0,	0,	0,	0,	0,	0,	0,	0,	0,
					0,	0,	0,	0,	0,	0,	0,	0,	0,	104,	127,	127,	68,	0,	0,	0,	0,	0,	0,	0,	0,	0,	0,	0,	0,	0,	0,	0,
					0,	0,	0,	0,	0,	0,	0,	0,	0,	113,	127,	116,	12,	0,	0,	0,	0,	0,	0,	0,	0,	0,	0,	0,	0,	0,	0,	0,
					0,	0,	0,	0,	0,	0,	0,	0,	0,	56,	127,	54,	0,	0,	0,	0,	0,	0,	0,	0,	0,	0,	0,	0,	0,	0,	0,	0,
					0,	0,	0,	0,	0,	0,	0,	0,	0,	0,	0,	0,	0,	0,	0,	0,	0,	0,	0,	0,	0,	0,	0,	0,	0,	0,	0,	0
			};
  /* USER CODE END 1 */

  /* MCU Configuration--------------------------------------------------------*/

  /* Reset of all peripherals, Initializes the Flash interface and the Systick. */
  HAL_Init();

  /* Configure the system clock */
  SystemClock_Config();

  /* Initialize all configured peripherals */
  MX_GPIO_Init();
  MX_USART2_UART_Init();
  MX_TIM16_Init();
  MX_USART1_UART_Init();

  /* Infinite loop */
  /* USER CODE BEGIN WHILE */
  HAL_TIM_Base_Start(&htim16);
  while (1)
  {
    /* USER CODE END WHILE */

    /* USER CODE BEGIN 3 */
  /*
	  timer_val = __HAL_TIM_GET_COUNTER(&htim16);

	  // 50ms
	  HAL_GPIO_WritePin(GPIOA, GPIO_PIN_5, GPIO_PIN_SET);
	  HAL_Delay(50);
	  HAL_GPIO_WritePin(GPIOA, GPIO_PIN_5, GPIO_PIN_RESET);

	  // SAVE TIME
	  timer_val1 = __HAL_TIM_GET_COUNTER(&htim16) - timer_val;

	  // SHOW TIME
	  uart_buf_len = sprintf(uart_buf, "%u us\r\n", timer_val1);
	  HAL_UART_Transmit(&huart1, (uint8_t *)uart_buf, uart_buf_len, 100);
	  HAL_Delay(1000);
   */
	//  for(int i=0; i<5; i++)
	///  {
			HAL_Delay(2000);
			nnom_model_t* model;
			nnom_predict_t * pre;
			//int8_t* input;
			float prob;
			uint32_t label;
			uint64_t size = 7968; 	////912 // 1696	// 7968
			uint8_t buf[100];
			uint8_t buf1[100];
			uint8_t buf2[100];
			int TxBufferlen,TxBufferlen1,TxBufferlen2;
			uint64_t timer_start;
			uint64_t timer_end,timer_end2;
			long long SysTickCnt_ms;
			long long SysTickCnt_start, SysTickCnt_end;

			  	  		model = nnom_model_create();				// create NNoM model
			pre = prediction_create(model, nnom_output_data, sizeof(nnom_output_data), 4); // mnist, 10 classes, get top-4
			//model_set_callback(model, callback);

			// now takes label and data from the file and data
			for(uint64_t seek=0; seek < size;)
			{
				// labels

				uint8_t true_label[128];
				memcpy(true_label, input_data_third + seek, 128);
				seek += 128;
				// data
				//SysTickCnt_start = SysTickCnt;

				for(uint64_t i=0; i < 10; i++)
				{

					timer_val = __HAL_TIM_GET_COUNTER(&htim16);
					//timer_start = HAL_TIM_Base_Start(&htim6);
					if(seek >= size)
						break;

					memcpy(nnom_input_data, input_data_third + seek, sizeof(nnom_input_data));
					seek += sizeof(nnom_input_data);

					//nnom_predict(model, &label, &prob);				// this will work independently
					prediction_run(pre, true_label[i], &label, &prob);  // this provide more infor but requires prediction API

					// save results
					//fprintf(fp, "%d,%f\n", label, prob);
					//timer_end = HAL_GetTick();
					timer_val1 = __HAL_TIM_GET_COUNTER(&htim16) - timer_val;
					TxBufferlen1 = sprintf(buf1,"Pre_Label : %d, Pre_accuracy : %f, timer %u us \n",label,prob,timer_val1);
					HAL_UART_Transmit(&huart1, buf1, TxBufferlen1, 100);
				}
				TxBufferlen = sprintf(buf,"Processing %d%%\n", (uint32_t)(seek * 100 / size));
				HAL_UART_Transmit(&huart1, buf, TxBufferlen, 1000);
				prediction_summary(pre);
				prediction_matrix(pre);
				prediction_delete(pre);
			}
			//model_io_format(pre);

			//predicetion_delete(pre);
			//prediction_summary(pre);
			//model_stat(pre);
	  }
//  }
  /* USER CODE END 3 */
}

void SystemClock_Config(void)
{
  RCC_OscInitTypeDef RCC_OscInitStruct = {0};
  RCC_ClkInitTypeDef RCC_ClkInitStruct = {0};

  /** Configure the main internal regulator output voltage
  */
  if (HAL_PWREx_ControlVoltageScaling(PWR_REGULATOR_VOLTAGE_SCALE1) != HAL_OK)
  {
    Error_Handler();
  }

  /** Initializes the RCC Oscillators according to the specified parameters
  * in the RCC_OscInitTypeDef structure.
  */
  RCC_OscInitStruct.OscillatorType = RCC_OSCILLATORTYPE_HSI;
  RCC_OscInitStruct.HSIState = RCC_HSI_ON;
  RCC_OscInitStruct.HSICalibrationValue = RCC_HSICALIBRATION_DEFAULT;
  RCC_OscInitStruct.PLL.PLLState = RCC_PLL_ON;
  RCC_OscInitStruct.PLL.PLLSource = RCC_PLLSOURCE_HSI;
  RCC_OscInitStruct.PLL.PLLM = 1;
  RCC_OscInitStruct.PLL.PLLN = 10;
  RCC_OscInitStruct.PLL.PLLP = RCC_PLLP_DIV7;
  RCC_OscInitStruct.PLL.PLLQ = RCC_PLLQ_DIV2;
  RCC_OscInitStruct.PLL.PLLR = RCC_PLLR_DIV2;
  if (HAL_RCC_OscConfig(&RCC_OscInitStruct) != HAL_OK)
  {
    Error_Handler();
  }

  /** Initializes the CPU, AHB and APB buses clocks
  */
  RCC_ClkInitStruct.ClockType = RCC_CLOCKTYPE_HCLK|RCC_CLOCKTYPE_SYSCLK
                              |RCC_CLOCKTYPE_PCLK1|RCC_CLOCKTYPE_PCLK2;
  RCC_ClkInitStruct.SYSCLKSource = RCC_SYSCLKSOURCE_PLLCLK;
  RCC_ClkInitStruct.AHBCLKDivider = RCC_SYSCLK_DIV1;
  RCC_ClkInitStruct.APB1CLKDivider = RCC_HCLK_DIV1;
  RCC_ClkInitStruct.APB2CLKDivider = RCC_HCLK_DIV1;

  if (HAL_RCC_ClockConfig(&RCC_ClkInitStruct, FLASH_LATENCY_4) != HAL_OK)
  {
    Error_Handler();
  }
}

static void MX_TIM16_Init(void)
{

  htim16.Instance = TIM16;
  htim16.Init.Prescaler = 80-1;
  htim16.Init.CounterMode = TIM_COUNTERMODE_UP;
  htim16.Init.Period = 65536-1;
  htim16.Init.ClockDivision = TIM_CLOCKDIVISION_DIV1;
  htim16.Init.RepetitionCounter = 0;
  htim16.Init.AutoReloadPreload = TIM_AUTORELOAD_PRELOAD_DISABLE;
  if (HAL_TIM_Base_Init(&htim16) != HAL_OK)
  {
    Error_Handler();
  }

}

static void MX_USART1_UART_Init(void)
{

  huart1.Instance = USART1;
  huart1.Init.BaudRate = 115200;
  huart1.Init.WordLength = UART_WORDLENGTH_8B;
  huart1.Init.StopBits = UART_STOPBITS_1;
  huart1.Init.Parity = UART_PARITY_NONE;
  huart1.Init.Mode = UART_MODE_TX_RX;
  huart1.Init.HwFlowCtl = UART_HWCONTROL_NONE;
  huart1.Init.OverSampling = UART_OVERSAMPLING_16;
  huart1.Init.OneBitSampling = UART_ONE_BIT_SAMPLE_DISABLE;
  huart1.AdvancedInit.AdvFeatureInit = UART_ADVFEATURE_NO_INIT;
  if (HAL_UART_Init(&huart1) != HAL_OK)
  {
    Error_Handler();
  }

}

static void MX_USART2_UART_Init(void)
{

  huart2.Instance = USART2;
  huart2.Init.BaudRate = 115200;
  huart2.Init.WordLength = UART_WORDLENGTH_8B;
  huart2.Init.StopBits = UART_STOPBITS_1;
  huart2.Init.Parity = UART_PARITY_NONE;
  huart2.Init.Mode = UART_MODE_TX_RX;
  huart2.Init.HwFlowCtl = UART_HWCONTROL_NONE;
  huart2.Init.OverSampling = UART_OVERSAMPLING_16;
  huart2.Init.OneBitSampling = UART_ONE_BIT_SAMPLE_DISABLE;
  huart2.AdvancedInit.AdvFeatureInit = UART_ADVFEATURE_NO_INIT;
  if (HAL_UART_Init(&huart2) != HAL_OK)
  {
    Error_Handler();
  }

}

static void MX_GPIO_Init(void)
{
  GPIO_InitTypeDef GPIO_InitStruct = {0};

  /* GPIO Ports Clock Enable */
  __HAL_RCC_GPIOC_CLK_ENABLE();
  __HAL_RCC_GPIOH_CLK_ENABLE();
  __HAL_RCC_GPIOA_CLK_ENABLE();
  __HAL_RCC_GPIOB_CLK_ENABLE();

  /*Configure GPIO pin Output Level */
  HAL_GPIO_WritePin(LD2_GPIO_Port, LD2_Pin, GPIO_PIN_RESET);

  /*Configure GPIO pin : B1_Pin */
  GPIO_InitStruct.Pin = B1_Pin;
  GPIO_InitStruct.Mode = GPIO_MODE_IT_FALLING;
  GPIO_InitStruct.Pull = GPIO_NOPULL;
  HAL_GPIO_Init(B1_GPIO_Port, &GPIO_InitStruct);

  /*Configure GPIO pin : LD2_Pin */
  GPIO_InitStruct.Pin = LD2_Pin;
  GPIO_InitStruct.Mode = GPIO_MODE_OUTPUT_PP;
  GPIO_InitStruct.Pull = GPIO_NOPULL;
  GPIO_InitStruct.Speed = GPIO_SPEED_FREQ_LOW;
  HAL_GPIO_Init(LD2_GPIO_Port, &GPIO_InitStruct);

}

void Error_Handler(void)
{
  __disable_irq();
  while (1)
  {
  }
}
